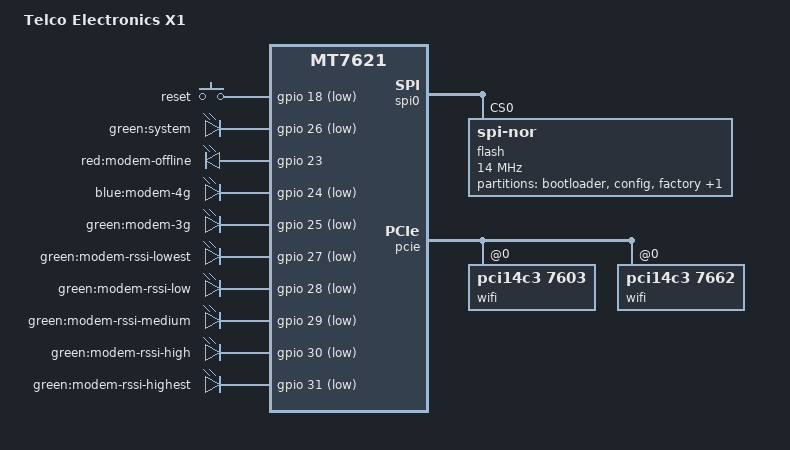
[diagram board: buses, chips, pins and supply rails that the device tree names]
// SPDX-License-Identifier: GPL-2.0-or-later OR MIT

#include "mt7621.dtsi"

#include <dt-bindings/gpio/gpio.h>
#include <dt-bindings/input/input.h>

/ {
	compatible = "telco-electronics,x1", "mediatek,mt7621-soc";
	model = "Telco Electronics X1";

	aliases {
		led-boot = &system_led;
		led-failsafe = &system_led;
		led-running = &system_led;
		led-upgrade = &system_led;
	};

	chosen {
		bootargs = "console=ttyS0,115200";
	};

	keys {
		compatible = "gpio-keys";

		reset {
			label = "reset";
			gpios = <&gpio 18 GPIO_ACTIVE_LOW>;
			linux,code = <KEY_RESTART>;
		};
	};

	leds {
		compatible = "gpio-leds";

		system_led: system {
			label = "green:system";
			gpios = <&gpio 26 GPIO_ACTIVE_LOW>;
		};

		modem_offline {
			label = "red:modem-offline";
			gpios = <&gpio 23 GPIO_ACTIVE_HIGH>;
		};

		modem_4g {
			label = "blue:modem-4g";
			gpios = <&gpio 24 GPIO_ACTIVE_LOW>;
		};

		modem_3g {
			label = "green:modem-3g";
			gpios = <&gpio 25 GPIO_ACTIVE_LOW>;
		};

		modem_rssi_lowest {
			label = "green:modem-rssi-lowest";
			gpios = <&gpio 27 GPIO_ACTIVE_LOW>;
		};

		modem_rssi_low {
			label = "green:modem-rssi-low";
			gpios = <&gpio 28 GPIO_ACTIVE_LOW>;
		};

		modem_rssi_medium {
			label = "green:modem-rssi-medium";
			gpios = <&gpio 29 GPIO_ACTIVE_LOW>;
		};

		modem_rssi_high {
			label = "green:modem-rssi-high";
			gpios = <&gpio 30 GPIO_ACTIVE_LOW>;
		};

		modem_rssi_highest {
			label = "green:modem-rssi-highest";
			gpios = <&gpio 31 GPIO_ACTIVE_LOW>;
		};
	};
};

&spi0 {
	status = "okay";

	flash@0 {
		compatible = "jedec,spi-nor";
		reg = <0>;
		spi-max-frequency = <14000000>;

		partitions {
			compatible = "fixed-partitions";
			#address-cells = <1>;
			#size-cells = <1>;

			partition@0 {
				label = "bootloader";
				reg = <0x0 0x30000>;
				read-only;
			};

			partition@30000 {
				label = "config";
				reg = <0x30000 0x10000>;
				read-only;
			};

			factory: partition@40000 {
				label = "factory";
				reg = <0x40000 0x10000>;
				read-only;
			};

			firmware: partition@50000 {
				compatible = "denx,uimage";
				label = "firmware";
				reg = <0x50000 0xfb0000>;
			};
		};
	};
};

&gmac0 {
	mtd-mac-address = <&factory 0xe006>;
};

&switch0 {
	ports {
		port@0 {
			status = "okay";
			label = "lan1";
		};

		port@1 {
			status = "okay";
			label = "lan2";
		};

		port@2 {
			status = "okay";
			label = "lan3";
		};

		port@3 {
			status = "okay";
			label = "lan4";
		};

		port@4 {
			status = "okay";
			label = "wan";
			mtd-mac-address = <&factory 0xe006>;
			mtd-mac-address-increment = <1>;
		};
	};
};

&state_default {
	gpio {
		groups = "wdt", "rgmii2";
		function = "gpio";
	};
};

&pcie {
	status = "okay";

	pcie0 {
		wifi@0,0 {
			compatible = "pci14c3,7603";
			reg = <0x0000 0 0 0 0>;
			mediatek,mtd-eeprom = <&factory 0x0000>;
			ieee80211-freq-limit = <2400000 2500000>;
		};
	};

	pcie1 {
		wifi@0,0 {
			compatible = "pci14c3,7662";
			reg = <0x0000 0 0 0 0>;
			mediatek,mtd-eeprom = <&factory 0x8000>;
			ieee80211-freq-limit = <5000000 6000000>;
			led {
				led-sources = <2>;
			};
		};
	};
};
